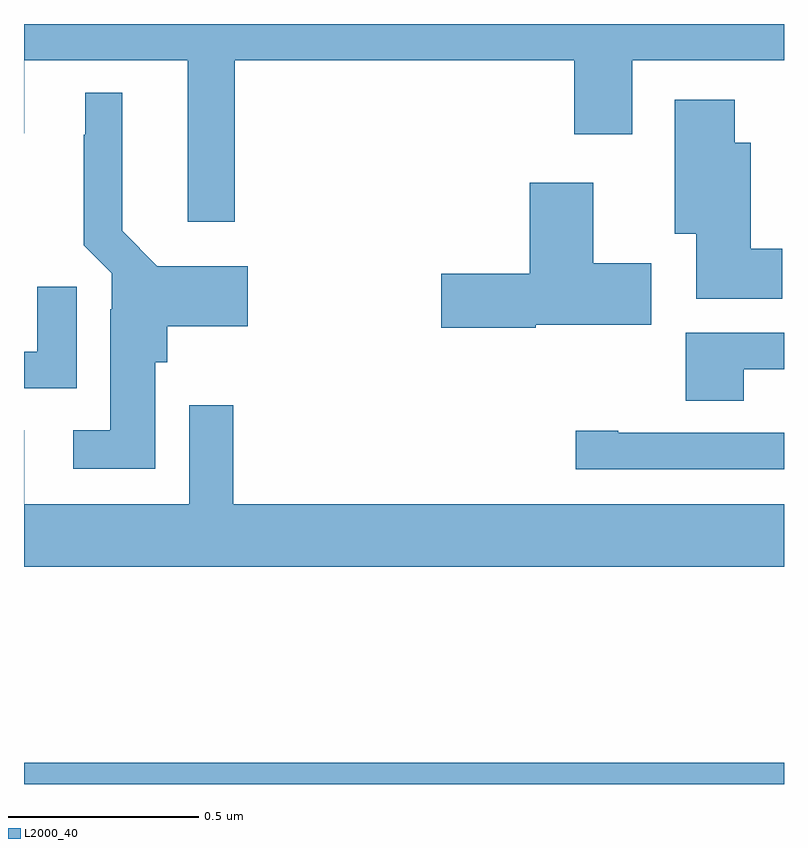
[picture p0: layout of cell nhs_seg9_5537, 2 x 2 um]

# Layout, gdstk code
import gdstk
lib = gdstk.Library(unit=1e-6, precision=1e-09)
def R(c, l, rs):  # rectangles x0, y0, x1, y1
    for r in rs: c.add(gdstk.rectangle(r[:2], r[2:], *l))
def P(c, l, *ps):  # polygons
    for p in ps: c.add(gdstk.Polygon(p, *l))
L2000_40 = (2000, 40)

nhs_seg9_5537 = lib.new_cell('nhs_seg9_5537')
R(nhs_seg9_5537, L2000_40, [(180,1210.5,182,1210.556)])
P(nhs_seg9_5537, L2000_40, [(180.554,1212.404),(181.448,1212.404),(181.448,1212.21),(181.6,1212.21),(181.6,1212.404),(182,1212.404),(182,1212.5),(180,1212.5),(180,1212.212),(180.001,1212.212),(180.001,1212.404),(180.431,1212.404),(180.431,1211.979),(180.554,1211.979)],
  [(180.346,1211.61),(180.377,1211.61),(180.377,1211.705),(180.589,1211.705),(180.589,1211.863),(180.351,1211.863),(180.259,1211.956),(180.259,1212.319),(180.161,1212.319),(180.161,1212.209),(180.157,1212.209),(180.157,1211.918),(180.231,1211.844),(180.231,1211.75),(180.227,1211.75),(180.227,1211.431),(180.129,1211.431),(180.129,1211.33),(180.346,1211.33)],
  [(181.996,1211.908),(181.912,1211.908),(181.912,1212.187),(181.87,1212.187),(181.87,1212.301),(181.712,1212.301),(181.712,1211.948),(181.769,1211.948),(181.769,1211.777),(181.996,1211.777)],
  [(181.347,1211.708),(181.651,1211.708),(181.651,1211.871),(181.498,1211.871),(181.498,1212.082),(181.331,1212.082),(181.331,1211.843),(181.098,1211.843),(181.098,1211.701),(181.347,1211.701)],
  [(180.139,1211.809),(180.035,1211.809),(180.035,1211.637),(180,1211.637),(180,1211.541),(180.139,1211.541)],
  [(181.894,1211.592),(182,1211.592),(182,1211.688),(181.742,1211.688),(181.742,1211.509),(181.894,1211.509)],
  [(182,1211.236),(180.551,1211.236),(180.551,1211.497),(180.435,1211.497),(180.435,1211.236),(180.001,1211.236),(180.001,1211.431),(180,1211.431),(180,1211.072),(182,1211.072)],
  [(182,1211.424),(181.564,1211.424),(181.564,1211.429),(181.452,1211.429),(181.452,1211.328),(182,1211.328)])

lib.write_gds('nhs_seg9_5537.gds')
